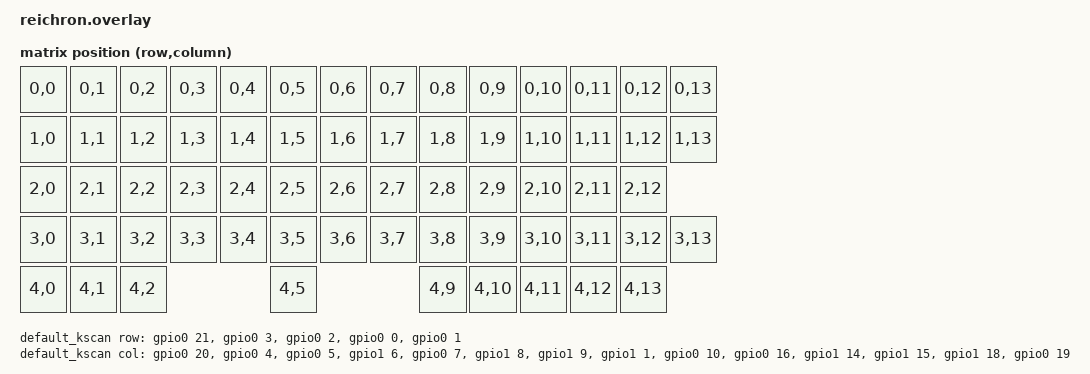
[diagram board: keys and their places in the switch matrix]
#include <dt-bindings/zmk/matrix_transform.h>

/ {
    chosen {
        zmk,kscan = &default_kscan;
        zmk,matrix_transform = &default_transform;
    };

    default_kscan: kscan {
        compatible = "zmk,kscan-gpio-matrix";
        label = "default_kscan";
        diode-direction = "col2row";
        
        row-gpios = <&gpio0 21 (GPIO_ACTIVE_HIGH | GPIO_PULL_DOWN)>, /* Row 0 - Top row (Esc to Backspace) */
                    <&gpio0  3 (GPIO_ACTIVE_HIGH | GPIO_PULL_DOWN)>, /* Row 1 - QWERTY row (Tab to Backslash) */
                    <&gpio0  2 (GPIO_ACTIVE_HIGH | GPIO_PULL_DOWN)>, /* Row 2 - ASDF row (Caps to Enter) */
                    <&gpio0  0 (GPIO_ACTIVE_HIGH | GPIO_PULL_DOWN)>, /* Row 3 - ZXCV row (Shift to del) */
                    <&gpio0  1 (GPIO_ACTIVE_HIGH | GPIO_PULL_DOWN)>; /* Row 4 - Bottom row (Ctrl to ins) */

        col-gpios = <&gpio0 20 GPIO_ACTIVE_HIGH>, /* Col 0 */
                    <&gpio0  4 GPIO_ACTIVE_HIGH>, /* Col 1 */
                    <&gpio0  5 GPIO_ACTIVE_HIGH>, /* Col 2 */
                    <&gpio1  6 GPIO_ACTIVE_HIGH>, /* Col 3 */
                    <&gpio0  7 GPIO_ACTIVE_HIGH>, /* Col 4 */
                    <&gpio1  8 GPIO_ACTIVE_HIGH>, /* Col 5 */
                    <&gpio1  9 GPIO_ACTIVE_HIGH>, /* Col 6 */
                    <&gpio1  1 GPIO_ACTIVE_HIGH>, /* Col 7 */
                    <&gpio0 10 GPIO_ACTIVE_HIGH>, /* Col 8 */
                    <&gpio0 16 GPIO_ACTIVE_HIGH>, /* Col 9 */
                    <&gpio1 14 GPIO_ACTIVE_HIGH>, /* Col 10 */
                    <&gpio1 15 GPIO_ACTIVE_HIGH>, /* Col 11 */
                    <&gpio1 18 GPIO_ACTIVE_HIGH>, /* Col 12 */
                    <&gpio0 19 GPIO_ACTIVE_HIGH>; /* Col 13 */
    };

        default_transform: matrix_transform {
        compatible = "zmk,matrix-transform";
        rows = <5>;
        columns = <14>;
        map = < 
            RC(0, 0) RC(0, 1) RC(0, 2) RC(0, 3) RC(0, 4) RC(0, 5) RC(0, 6) RC(0, 7) RC(0, 8) RC(0, 9) RC(0, 10) RC(0, 11) RC(0, 12) RC(0, 13)
            RC(1, 0) RC(1, 1) RC(1, 2) RC(1, 3) RC(1, 4) RC(1, 5) RC(1, 6) RC(1, 7) RC(1, 8) RC(1, 9) RC(1, 10) RC(1, 11) RC(1, 12) RC(1, 13)
            RC(2, 0) RC(2, 1) RC(2, 2) RC(2, 3) RC(2, 4) RC(2, 5) RC(2, 6) RC(2, 7) RC(2, 8) RC(2, 9) RC(2, 10) RC(2, 11) RC(2, 12)
            RC(3, 0) RC(3, 1) RC(3, 2) RC(3, 3) RC(3, 4) RC(3, 5) RC(3, 6) RC(3, 7) RC(3, 8) RC(3, 9) RC(3, 10) RC(3, 11) RC(3, 12) RC(3, 13)
            RC(4, 0) RC(4, 1) RC(4, 2)                 RC(4, 5)                         RC(4, 9) RC(4, 10) RC(4, 11) RC(4, 12) RC(4, 13)
        >;
    };
};
